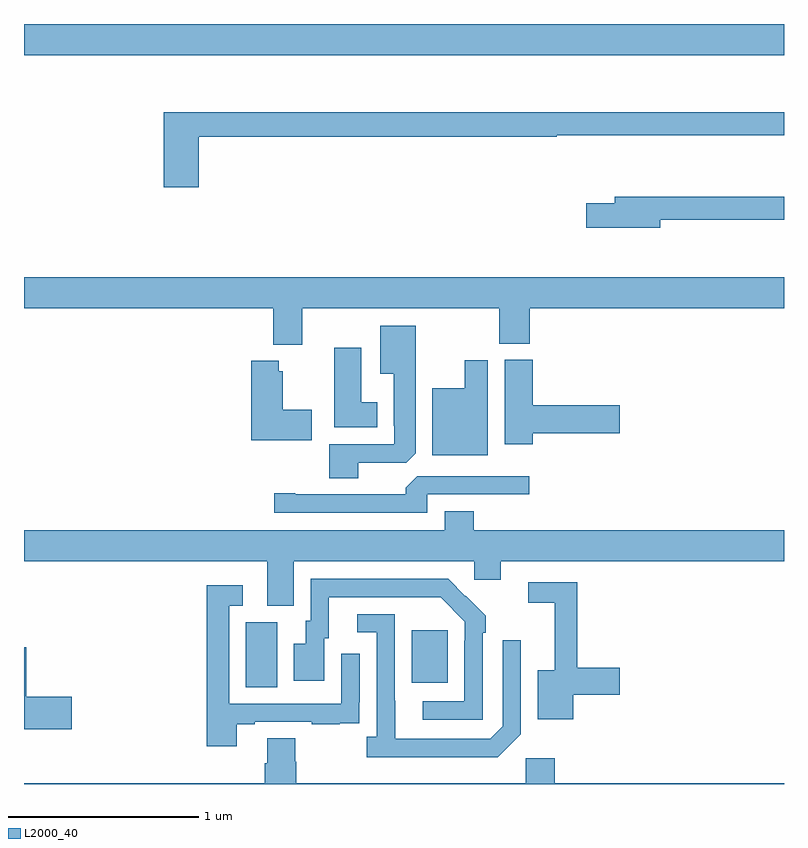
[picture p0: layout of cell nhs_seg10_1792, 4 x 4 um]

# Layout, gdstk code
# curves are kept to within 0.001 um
import gdstk
lib = gdstk.Library(unit=1e-6, precision=1e-09)
def R(c, l, rs):  # rectangles x0, y0, x1, y1
    for r in rs: c.add(gdstk.rectangle(r[:2], r[2:], *l))
def P(c, l, *ps):  # polygons
    for p in ps: c.add(gdstk.Polygon(p, *l))
L2000_40 = (2000, 40)

nhs_seg10_1792 = lib.new_cell('nhs_seg10_1792')
R(nhs_seg10_1792, L2000_40, [(206.168,1277.008,206.332,1277.352), (207.041,1277.033,207.229,1277.308), (205,1280.336,209,1280.5)])
P(nhs_seg10_1792, L2000_40, [(205.919,1279.906),(207.803,1279.906),(207.803,1279.914),(209,1279.914),(209,1280.035),(205.736,1280.035),(205.736,1279.641),(205.919,1279.641)],
  [(208.348,1279.47),(209,1279.47),(209,1279.591),(208.109,1279.591),(208.109,1279.557),(207.96,1279.557),(207.96,1279.427),(208.348,1279.427)],
  [(206.464,1279.004),(207.502,1279.004),(207.502,1278.817),(207.662,1278.817),(207.662,1279.004),(209,1279.004),(209,1279.168),(205,1279.168),(205,1279.004),(206.312,1279.004),(206.312,1278.812),(206.464,1278.812)],
  [(206.758,1278.192),(207.012,1278.192),(207.061,1278.241),(207.061,1278.913),(206.876,1278.913),(206.876,1278.659),(206.945,1278.659),(206.945,1278.385),(206.949,1278.385),(206.949,1278.288),(206.606,1278.288),(206.606,1278.109),(206.758,1278.109)],
  [(206.86,1278.508),(206.776,1278.508),(206.776,1278.796),(206.633,1278.796),(206.633,1278.377),(206.86,1278.377)],
  [(207.677,1278.347),(208.135,1278.347),(208.135,1278.494),(207.677,1278.494),(207.677,1278.732),(207.53,1278.732),(207.53,1278.288),(207.677,1278.288)],
  [(207.442,1278.73),(207.32,1278.73),(207.32,1278.583),(207.149,1278.583),(207.149,1278.23),(207.442,1278.23)],
  [(206.515,1278.471),(206.362,1278.471),(206.362,1278.673),(206.34,1278.673),(206.34,1278.727),(206.195,1278.727),(206.195,1278.308),(206.515,1278.308)],
  [(207.123,1278.024),(207.658,1278.024),(207.658,1278.12),(207.069,1278.12),(207.008,1278.058),(207.008,1278.024),(206.428,1278.024),(206.428,1278.029),(206.316,1278.029),(206.316,1277.928),(207.123,1277.928)],
  [(206.419,1277.672),(207.369,1277.672),(207.369,1277.574),(207.508,1277.574),(207.508,1277.672),(209,1277.672),(209,1277.836),(207.368,1277.836),(207.368,1277.935),(207.215,1277.935),(207.215,1277.836),(205,1277.836),(205,1277.672),(206.279,1277.672),(206.279,1277.437),(206.419,1277.437)],
  [(207.414,1277.297),(207.429,1277.297),(207.429,1277.385),(207.232,1277.58),(206.508,1277.58),(206.508,1277.358),(206.483,1277.358),(206.483,1277.239),(206.42,1277.239),(206.42,1277.043),(206.581,1277.043),(206.581,1277.268),(206.605,1277.268),(206.605,1277.484),(207.193,1277.484),(207.321,1277.355),(207.321,1277.255),(207.318,1277.255),(207.318,1276.935),(207.099,1276.935),(207.099,1276.839),(207.414,1276.839)],
  [(207.892,1276.969),(208.135,1276.969),(208.135,1277.111),(207.911,1277.111),(207.911,1277.562),(207.654,1277.562),(207.654,1277.454),(207.794,1277.454),(207.794,1277.098),(207.704,1277.098),(207.704,1276.841),(207.892,1276.841)],
  [(206.119,1276.815),(206.215,1276.815),(206.215,1276.827),(206.515,1276.827),(206.515,1276.815),(206.663,1276.815),(206.663,1276.821),(206.765,1276.821),(206.765,1276.93),(206.766,1276.93),(206.766,1277.185),(206.67,1277.185),(206.67,1276.923),(206.079,1276.923),(206.079,1277.439),(206.152,1277.439),(206.152,1277.545),(205.963,1277.545),(205.963,1276.698),(206.119,1276.698)],
  [(207.615,1276.761),(207.615,1277.257),(207.519,1277.257),(207.519,1276.803),(207.453,1276.737),(206.953,1276.737),(206.952,1277.394),(206.754,1277.394),(206.754,1277.298),(206.856,1277.298),(206.856,1276.75),(206.805,1276.75),(206.805,1276.64),(207.494,1276.64)],
  [(205.252,1276.958),(205.013,1276.958),(205.013,1277.221),(205,1277.221),(205,1276.787),(205.252,1276.787)],
  [(209,1276.504),(207.794,1276.504),(207.794,1276.636),(207.642,1276.636),(207.642,1276.504),(206.432,1276.504),(206.432,1276.617),(206.427,1276.617),(206.427,1276.742),(206.279,1276.742),(206.279,1276.61),(206.267,1276.61),(206.267,1276.504),(205,1276.504),(205,1276.5),(209,1276.5)])

lib.write_gds('nhs_seg10_1792.gds')
